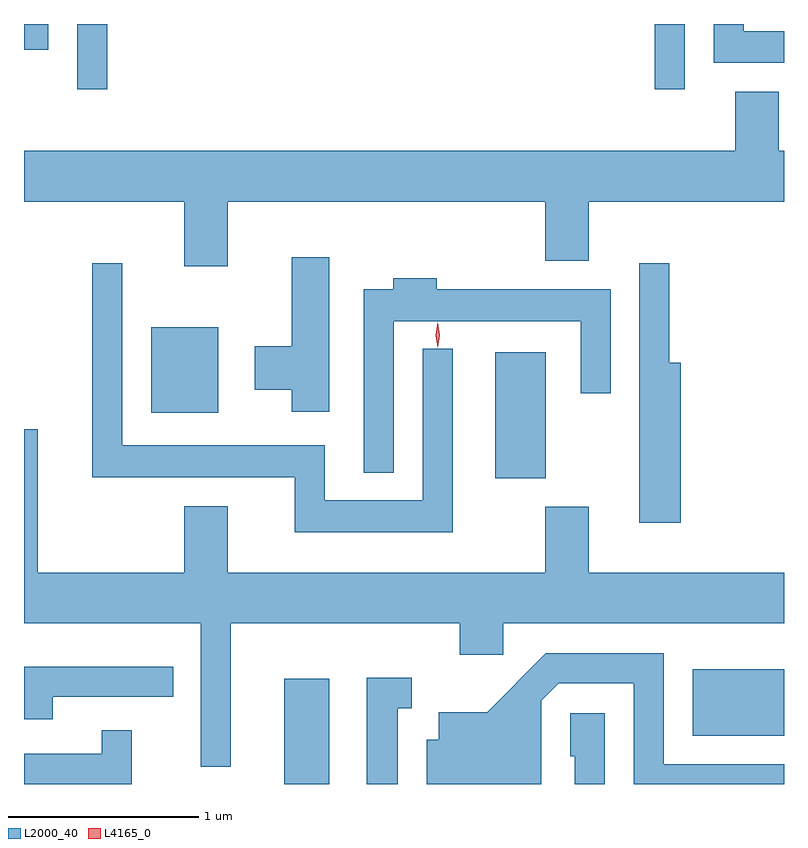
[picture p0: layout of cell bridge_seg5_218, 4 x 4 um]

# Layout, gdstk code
import gdstk
lib = gdstk.Library(unit=1e-6, precision=1e-09)
def R(c, l, rs):  # rectangles x0, y0, x1, y1
    for r in rs: c.add(gdstk.rectangle(r[:2], r[2:], *l))
def P(c, l, *ps):  # polygons
    for p in ps: c.add(gdstk.Polygon(p, *l))
L2000_40 = (2000, 40)
L4165_0 = (4165, 0)

bridge_seg5_218 = lib.new_cell('bridge_seg5_218')
R(bridge_seg5_218, L2000_40, [(1320.076,1424.871,1320.314,1425.424), (1322.226,1425.126,1322.707,1425.474), (1321.186,1426.481,1321.454,1427.144), (1319.376,1426.826,1319.729,1427.274), (1318.986,1428.528,1319.144,1428.871), (1322.026,1428.528,1322.184,1428.871), (1318.707,1428.736,1318.834,1428.871)])
P(bridge_seg5_218, L2000_40, [(1322.707,1428.834),(1322.494,1428.834),(1322.494,1428.871),(1322.336,1428.871),(1322.336,1428.666),(1322.707,1428.666)],
  [(1319.779,1427.936),(1321.451,1427.936),(1321.451,1427.626),(1321.679,1427.626),(1321.679,1427.936),(1322.707,1427.936),(1322.707,1428.204),(1322.679,1428.204),(1322.679,1428.514),(1322.451,1428.514),(1322.451,1428.204),(1318.707,1428.204),(1318.707,1427.936),(1319.551,1427.936),(1319.551,1427.596),(1319.779,1427.596)],
  [(1320.314,1427.644),(1320.116,1427.644),(1320.116,1427.174),(1319.921,1427.174),(1319.921,1426.946),(1320.116,1426.946),(1320.116,1426.831),(1320.314,1426.831)],
  [(1322.164,1427.089),(1322.104,1427.089),(1322.104,1427.613),(1321.946,1427.613),(1321.946,1426.246),(1322.164,1426.246)],
  [(1320.964,1427.163),(1320.806,1427.163),(1320.806,1426.364),(1320.289,1426.364),(1320.289,1426.654),(1319.224,1426.654),(1319.224,1427.613),(1319.066,1427.613),(1319.066,1426.486),(1320.131,1426.486),(1320.131,1426.196),(1320.964,1426.196)],
  [(1320.654,1427.306),(1321.636,1427.306),(1321.636,1426.928),(1321.794,1426.928),(1321.794,1427.474),(1320.879,1427.474),(1320.879,1427.534),(1320.651,1427.534),(1320.651,1427.474),(1320.496,1427.474),(1320.496,1426.508),(1320.654,1426.508)],
  [(1319.794,1425.716),(1321.001,1425.716),(1321.001,1425.551),(1321.229,1425.551),(1321.229,1425.716),(1322.707,1425.716),(1322.707,1425.984),(1321.679,1425.984),(1321.679,1426.329),(1321.451,1426.329),(1321.451,1425.984),(1319.779,1425.984),(1319.779,1426.334),(1319.551,1426.334),(1319.551,1425.984),(1318.779,1425.984),(1318.779,1426.739),(1318.707,1426.739),(1318.707,1425.716),(1319.636,1425.716),(1319.636,1424.963),(1319.794,1424.963)],
  [(1321.429,1425.309),(1321.522,1425.401),(1321.916,1425.401),(1321.916,1424.871),(1322.707,1424.871),(1322.707,1424.974),(1322.074,1424.974),(1322.074,1425.559),(1321.454,1425.559),(1321.144,1425.249),(1320.891,1425.249),(1320.891,1425.104),(1320.826,1425.104),(1320.826,1424.871),(1321.429,1424.871)],
  [(1318.859,1425.331),(1319.493,1425.331),(1319.493,1425.489),(1318.707,1425.489),(1318.707,1425.211),(1318.859,1425.211)],
  [(1320.674,1425.271),(1320.748,1425.271),(1320.748,1425.429),(1320.511,1425.429),(1320.511,1424.871),(1320.674,1424.871)],
  [(1321.764,1425.244),(1321.581,1425.244),(1321.581,1425.016),(1321.606,1425.016),(1321.606,1424.871),(1321.764,1424.871)],
  [(1319.274,1425.153),(1319.116,1425.153),(1319.116,1425.029),(1318.707,1425.029),(1318.707,1424.871),(1319.274,1424.871)])
P(bridge_seg5_218, L4165_0, [(1320.884,1427.167),(1320.875,1427.234),(1320.884,1427.3),(1320.885,1427.301),(1320.885,1427.3),(1320.895,1427.234),(1320.885,1427.167),(1320.885,1427.167)])

lib.write_gds('bridge_seg5_218.gds')
